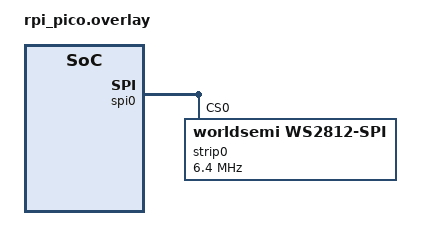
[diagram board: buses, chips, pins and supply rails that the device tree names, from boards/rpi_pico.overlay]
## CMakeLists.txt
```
cmake_minimum_required(VERSION 3.20.0)

# Initialize Zephyr
find_package(Zephyr REQUIRED HINTS $ENV{ZEPHYR_BASE})

# Create project
project(zephyr_experiments LANGUAGES C)

# Include header
target_include_directories(app PRIVATE "include")

# Append every C file
file(GLOB_RECURSE SOURCES "src/*.c")

# Target source files
target_sources(app PRIVATE ${SOURCES})
```

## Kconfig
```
menu "LampArray Configurations"

config PIXEL_MODULE_LOG_LEVEL
    int "'pixel' module log level"
    default LOG_DEFAULT_LEVEL

config HID_MODULE_LOG_LEVEL
    int "'hid' module log level"
    default LOG_DEFAULT_LEVEL

config MIN_PIXEL_UPDATE_TIME
    int "Minimum pixel update time in microseconds"
    default 150
    help
      "Minimum time the HID Host will acknoledge before sending another request to the same pixel"

choice 
    prompt "LampArrayKind (Type of device)"
    default LAMPARRAY_KIND_PERIPHERAL

config LAMPARRAY_KIND_KEYBOARD
    bool "Keyboard"

config LAMPARRAY_KIND_MOUSE
    bool "Mouse"

config LAMPARRAY_KIND_GAME_CONTROLLER
    bool "Controller"

config LAMPARRAY_KIND_PERIPHERAL
    bool "Peripheral"

config LAMPARRAY_KIND_SCENE
    bool "Scene"

config LAMPARRAY_KIND_NOTIFICATION
    bool "Notification"

config LAMPARRAY_KIND_CHASSIS
    bool "Chassis"

config LAMPARRAY_KIND_WEARABLE
    bool "Wearable"

config LAMPARRAY_KIND_FURNITURE
    bool "Furniture"

config LAMPARRAY_KIND_ART
    bool "Art"

endchoice

config LAMPARRAY_KIND
    hex
    default 0x01 if LAMPARRAY_KIND_KEYBOARD
    default 0x02 if LAMPARRAY_KIND_MOUSE
    default 0x03 if LAMPARRAY_KIND_GAME_CONTROLLER
    default 0x04 if LAMPARRAY_KIND_PERIPHERAL
    default 0x05 if LAMPARRAY_KIND_SCENE
    default 0x06 if LAMPARRAY_KIND_NOTIFICATION
    default 0x07 if LAMPARRAY_KIND_CHASSIS
    default 0x08 if LAMPARRAY_KIND_WEARABLE
    default 0x09 if LAMPARRAY_KIND_FURNITURE
    default 0x0A if LAMPARRAY_KIND_ART

endmenu

source "Kconfig.zephyr"
```

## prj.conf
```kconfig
# Enable logging
CONFIG_LOG=y
CONFIG_LOG_DEFAULT_LEVEL=2

# Enable ZBUS
CONFIG_ZBUS=y

# Enable required drivers
CONFIG_LED_STRIP=y
CONFIG_USB_DEVICE_DRIVER=y
CONFIG_USB_DEVICE_STACK=y

# USB metadata
CONFIG_USB_DEVICE_MANUFACTURER="taleroangel"
CONFIG_USB_DEVICE_PRODUCT="ZephyrOS LampArray Example"

# Enable USB HID
CONFIG_USB_DEVICE_HID=y
CONFIG_USB_HID_DEVICE_NAME="HID"
CONFIG_USB_HID_DEVICE_COUNT=1
CONFIG_USB_HID_POLL_INTERVAL_MS=1
CONFIG_USB_HID_BOOT_PROTOCOL=n

# Enable rebooting
CONFIG_REBOOT=y
```

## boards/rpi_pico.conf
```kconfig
# SPI is required to drive the LED strip
CONFIG_SPI=y
```

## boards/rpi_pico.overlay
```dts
#include <zephyr/dt-bindings/led/led.h>

&spi0 {
    strip0: ws2812@0 {
        compatible = "worldsemi,ws2812-spi";

        /* SPI */
        reg = <0>; /* ignored, but necessary for SPI bindings */
        spi-max-frequency = <6400000>;

        /* WS2812 */
        chain-length = <5>; /* arbitrary; change at will */
        spi-cpha;
        spi-one-frame = <0xf0>; /* 11110000: 625 ns high and 625 ns low */
        spi-zero-frame = <0xc0>; /* 11000000: 312.5 ns high and 937.5 ns low */
        color-mapping = <LED_COLOR_ID_GREEN LED_COLOR_ID_RED LED_COLOR_ID_BLUE>;
    };
};

/ {
    gpio-keys {
        compatible = "gpio-keys";
    };

    aliases {
        strip0 = &strip0;
    };
};
```

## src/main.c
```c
#include <app_version.h>

#include <error/error.h>
#include <pixel/request.h>
#include <pixel/controller.h>
#include <hid/hid.h>

#include <stdint.h>
#include <stdlib.h>

#include <zephyr/fatal.h>
#include <zephyr/kernel.h>
#include <zephyr/logging/log.h>
#include <zephyr/zbus/zbus.h>

/* Register error handler */
void k_sys_fatal_error_handler(unsigned int reason, const struct arch_esf *esf)
{
    panic_handler(reason, esf);
}

// Define channel for sending requests to the pixel controller
ZBUS_CHAN_DEFINE(
    pixel_controller_zbus_channel,
    struct pixel_controller_request,
    NULL,
    NULL,
    ZBUS_OBSERVERS(pixel_controller_zbus_observer),
    ZBUS_MSG_INIT(.type = PIXEL_CONTROLLER_REQUEST_NONE));

/* Declare the Pixel controller thread handler */
K_THREAD_DEFINE(
    pixel_controller_thread,
    PIXEL_CONTROLLER_THREAD_STACK_SIZE,
    pixel_controller_main,
    /* arguments */
    NULL, NULL, NULL,
    PIXEL_CONTROLLER_THREAD_PRIORITY,
    K_ESSENTIAL, 0);

/* Declare the LampArray HID thread handler */
K_THREAD_DEFINE(
    hid_lamparray_thread,
    HID_LAMPARRAY_THREAD_STACK_SIZE,
    hid_lamparray_main,
    /* arguments */
    NULL, NULL, NULL,
    HID_LAMPARRAY_THREAD_PRIORITY,
    0, 0);
```
